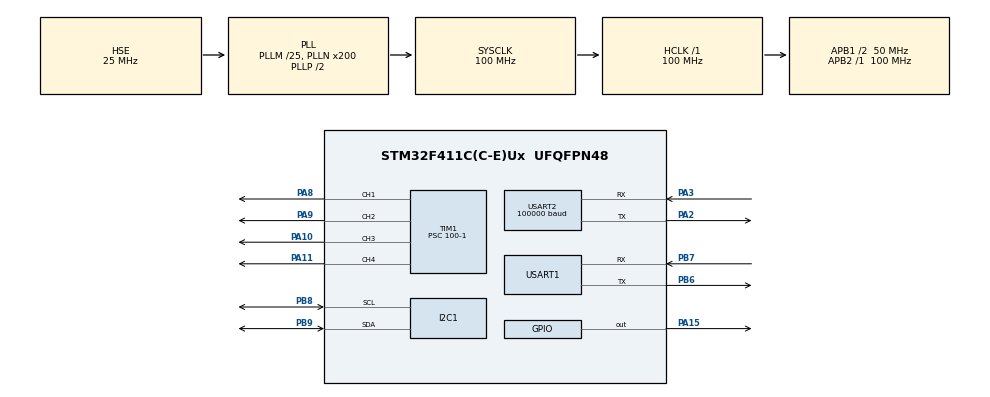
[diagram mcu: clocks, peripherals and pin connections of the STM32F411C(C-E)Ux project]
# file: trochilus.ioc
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Dma.Request0=USART2_RX
Dma.Request1=USART1_RX
Dma.Request2=USART1_TX
Dma.USART1_RX.1.Direction=DMA_PERIPH_TO_MEMORY
Dma.USART1_RX.1.FIFOMode=DMA_FIFOMODE_DISABLE
Dma.USART1_RX.1.Instance=DMA2_Stream2
Dma.USART1_RX.1.MemDataAlignment=DMA_MDATAALIGN_BYTE
Dma.USART1_RX.1.MemInc=DMA_MINC_ENABLE
Dma.USART1_RX.1.Mode=DMA_NORMAL
Dma.USART1_RX.1.PeriphDataAlignment=DMA_PDATAALIGN_BYTE
Dma.USART1_RX.1.PeriphInc=DMA_PINC_DISABLE
Dma.USART1_RX.1.Priority=DMA_PRIORITY_LOW
Dma.USART1_TX.2.Direction=DMA_MEMORY_TO_PERIPH
Dma.USART1_TX.2.FIFOMode=DMA_FIFOMODE_DISABLE
Dma.USART1_TX.2.Instance=DMA2_Stream7
Dma.USART1_TX.2.MemDataAlignment=DMA_MDATAALIGN_BYTE
Dma.USART1_TX.2.MemInc=DMA_MINC_ENABLE
Dma.USART1_TX.2.Mode=DMA_NORMAL
Dma.USART1_TX.2.PeriphDataAlignment=DMA_PDATAALIGN_BYTE
Dma.USART1_TX.2.PeriphInc=DMA_PINC_DISABLE
Dma.USART1_TX.2.Priority=DMA_PRIORITY_LOW
Dma.USART2_RX.0.Direction=DMA_PERIPH_TO_MEMORY
Dma.USART2_RX.0.FIFOMode=DMA_FIFOMODE_DISABLE
Dma.USART2_RX.0.Instance=DMA1_Stream5
Dma.USART2_RX.0.MemDataAlignment=DMA_MDATAALIGN_BYTE
Dma.USART2_RX.0.MemInc=DMA_MINC_ENABLE
Dma.USART2_RX.0.Mode=DMA_NORMAL
Dma.USART2_RX.0.PeriphDataAlignment=DMA_PDATAALIGN_BYTE
Dma.USART2_RX.0.PeriphInc=DMA_PINC_DISABLE
Dma.USART2_RX.0.Priority=DMA_PRIORITY_HIGH
FREERTOS.Tasks01=defaultTask,24,128,StartDefaultTask,Default,NULL,Dynamic,NULL,NULL
Mcu.Family=STM32F4
Mcu.Name=STM32F411C(C-E)Ux
Mcu.Package=UFQFPN48
NVIC.DMA1_Stream5_IRQn=true\:5\:0\:false\:false\:true\:true\:false\:true
NVIC.DMA2_Stream2_IRQn=true\:5\:0\:false\:false\:true\:true\:false\:true
NVIC.DMA2_Stream7_IRQn=true\:5\:0\:false\:false\:true\:true\:false\:true
NVIC.PriorityGroup=NVIC_PRIORITYGROUP_4
NVIC.TIM1_UP_TIM10_IRQn=true\:15\:0\:false\:false\:true\:false\:false\:true
NVIC.TIM2_IRQn=true\:15\:0\:false\:false\:true\:false\:false\:true
NVIC.TimeBase=TIM2_IRQn
NVIC.TimeBaseIP=TIM2
NVIC.USART1_IRQn=true\:5\:0\:false\:false\:true\:true\:true\:true
PA0-WKUP.Signal=S_TIM2_CH1_ETR
PA10.Signal=S_TIM1_CH3
PA11.Signal=S_TIM1_CH4
PA15.GPIO_PuPd=GPIO_PULLUP
PA15.Signal=GPIO_Output
PA2.Mode=Asynchronous
PA2.Signal=USART2_TX
PA3.Mode=Asynchronous
PA3.Signal=USART2_RX
PA8.Signal=S_TIM1_CH1
PA9.Signal=S_TIM1_CH2
PB6.Mode=Asynchronous
PB6.Signal=USART1_TX
PB7.Mode=Asynchronous
PB7.Signal=USART1_RX
PB8.Mode=I2C
PB8.Signal=I2C1_SCL
PB9.Mode=I2C
PB9.Signal=I2C1_SDA
PH0\ -\ OSC_IN.Mode=HSE-External-Oscillator
PH0\ -\ OSC_IN.Signal=RCC_OSC_IN
PH1\ -\ OSC_OUT.Mode=HSE-External-Oscillator
PH1\ -\ OSC_OUT.Signal=RCC_OSC_OUT
ProjectManager.HeapSize=0x200
ProjectManager.StackSize=0x400
ProjectManager.TargetToolchain=Makefile
RCC.48MHZClocksFreq_Value=50000000
RCC.AHBFreq_Value=100000000
RCC.APB1CLKDivider=RCC_HCLK_DIV2
RCC.APB1Freq_Value=50000000
RCC.APB1TimFreq_Value=100000000
RCC.APB2Freq_Value=100000000
RCC.APB2TimFreq_Value=100000000
RCC.CortexFreq_Value=100000000
RCC.HCLKFreq_Value=100000000
RCC.HSE_VALUE=25000000
RCC.HSI_VALUE=16000000
RCC.LSE_VALUE=32768
RCC.PLLM=25
RCC.PLLN=200
RCC.PLLSourceVirtual=RCC_PLLSOURCE_HSE
RCC.SYSCLKFreq_VALUE=100000000
RCC.SYSCLKSource=RCC_SYSCLKSOURCE_PLLCLK
RCC.VCOOutputFreq_Value=200000000
SH.S_TIM1_CH1.0=TIM1_CH1,PWM Generation1 CH1
SH.S_TIM1_CH2.0=TIM1_CH2,PWM Generation2 CH2
SH.S_TIM1_CH3.0=TIM1_CH3,PWM Generation3 CH3
SH.S_TIM1_CH4.0=TIM1_CH4,PWM Generation4 CH4
SH.S_TIM2_CH1_ETR.0=TIM2_CH1
TIM1.Channel-PWM\ Generation1\ CH1=TIM_CHANNEL_1
TIM1.Channel-PWM\ Generation2\ CH2=TIM_CHANNEL_2
TIM1.Channel-PWM\ Generation3\ CH3=TIM_CHANNEL_3
TIM1.Channel-PWM\ Generation4\ CH4=TIM_CHANNEL_4
TIM1.Prescaler=100-1
USART1.VirtualMode=VM_ASYNC
USART2.BaudRate=100000
USART2.Parity=PARITY_EVEN
USART2.StopBits=STOPBITS_2
USART2.VirtualMode=VM_ASYNC
VP_FREERTOS_VS_CMSIS_V2.Mode=CMSIS_V2
VP_SYS_VS_tim2.Mode=TIM2
board=custom

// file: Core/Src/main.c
/* USER CODE BEGIN Header */
/**
 ******************************************************************************
 * @file           : main.c
 * @brief          : Main program body
 ******************************************************************************
 * @attention
 *
 * Copyright (c) 2022 STMicroelectronics.
 * All rights reserved.
 *
 * This software is licensed under terms that can be found in the LICENSE file
 * in the root directory of this software component.
 * If no LICENSE file comes with this software, it is provided AS-IS.
 *
 ******************************************************************************
 */
/* USER CODE END Header */
#include "main.h"
#include "cmsis_os.h"

I2C_HandleTypeDef hi2c1;

TIM_HandleTypeDef htim1;

UART_HandleTypeDef huart1;
UART_HandleTypeDef huart2;
DMA_HandleTypeDef  hdma_usart1_rx;
DMA_HandleTypeDef  hdma_usart1_tx;
DMA_HandleTypeDef  hdma_usart2_rx;

/* Definitions for defaultTask */
osThreadId_t         defaultTaskHandle;
const osThreadAttr_t defaultTask_attributes = {
    .name       = "defaultTask",
    .stack_size = 128 * 4,
    .priority   = ( osPriority_t )osPriorityNormal,
};
/* USER CODE BEGIN PV */
#ifdef __GNUC__
#define PUTCHAR_PROTOTYPE int __io_putchar(int ch)
int _write(int fd, char* pBuffer, int size)
{
    for(int i = 0; i < size; i++) {
        __io_putchar(*pBuffer++);
    }
    return size;
}
#else
#define PUTCHAR_PROTOTYPE int fputc(int ch, FILE* f)
#endif
PUTCHAR_PROTOTYPE
{
    while(HAL_OK != HAL_UART_Transmit_DMA(&huart1, ( uint8_t* )&ch, 1)) {
    }
    return ch;
}

/* USER CODE END PV */

void        SystemClock_Config(void);
static void MX_GPIO_Init(void);
static void MX_DMA_Init(void);
static void MX_TIM1_Init(void);
static void MX_USART1_UART_Init(void);
static void MX_USART2_UART_Init(void);
static void MX_I2C1_Init(void);
void        StartDefaultTask(void* argument);

int main(void)
{

    /* MCU Configuration--------------------------------------------------------*/

    /* Reset of all peripherals, Initializes the Flash interface and the Systick. */
    HAL_Init();

    /* Configure the system clock */
    SystemClock_Config();

    /* Initialize all configured peripherals */
    MX_GPIO_Init();
    MX_DMA_Init();
    MX_TIM1_Init();
    MX_USART1_UART_Init();
    MX_USART2_UART_Init();
    MX_I2C1_Init();
    /* USER CODE BEGIN 2 */
    // HAL_UART_Transmit(&huart1, "s", 1, 0);
    /* USER CODE END 2 */

    /* Init scheduler */
    osKernelInitialize();

    /* Create the thread(s) */
    /* creation of defaultTask */
    defaultTaskHandle = osThreadNew(StartDefaultTask, NULL, &defaultTask_attributes);

    /* Start scheduler */
    osKernelStart();

    /* We should never get here as control is now taken by the scheduler */
    /* Infinite loop */
    while(1) {

    }
}

void SystemClock_Config(void)
{
    RCC_OscInitTypeDef RCC_OscInitStruct = { 0 };
    RCC_ClkInitTypeDef RCC_ClkInitStruct = { 0 };

    /** Configure the main internal regulator output voltage
     */
    __HAL_RCC_PWR_CLK_ENABLE();
    __HAL_PWR_VOLTAGESCALING_CONFIG(PWR_REGULATOR_VOLTAGE_SCALE1);
    /** Initializes the RCC Oscillators according to the specified parameters
     * in the RCC_OscInitTypeDef structure.
     */
    RCC_OscInitStruct.OscillatorType = RCC_OSCILLATORTYPE_HSE;
    RCC_OscInitStruct.HSEState       = RCC_HSE_ON;
    RCC_OscInitStruct.PLL.PLLState   = RCC_PLL_ON;
    RCC_OscInitStruct.PLL.PLLSource  = RCC_PLLSOURCE_HSE;
    RCC_OscInitStruct.PLL.PLLM       = 25;
    RCC_OscInitStruct.PLL.PLLN       = 200;
    RCC_OscInitStruct.PLL.PLLP       = RCC_PLLP_DIV2;
    RCC_OscInitStruct.PLL.PLLQ       = 4;
    if(HAL_RCC_OscConfig(&RCC_OscInitStruct) != HAL_OK) {
        Error_Handler();
    }
    /** Initializes the CPU, AHB and APB buses clocks
     */
    RCC_ClkInitStruct.ClockType      = RCC_CLOCKTYPE_HCLK | RCC_CLOCKTYPE_SYSCLK | RCC_CLOCKTYPE_PCLK1 | RCC_CLOCKTYPE_PCLK2;
    RCC_ClkInitStruct.SYSCLKSource   = RCC_SYSCLKSOURCE_PLLCLK;
    RCC_ClkInitStruct.AHBCLKDivider  = RCC_SYSCLK_DIV1;
    RCC_ClkInitStruct.APB1CLKDivider = RCC_HCLK_DIV2;
    RCC_ClkInitStruct.APB2CLKDivider = RCC_HCLK_DIV1;

    if(HAL_RCC_ClockConfig(&RCC_ClkInitStruct, FLASH_LATENCY_3) != HAL_OK) {
        Error_Handler();
    }
}

static void MX_I2C1_Init(void)
{

    hi2c1.Instance             = I2C1;
    hi2c1.Init.ClockSpeed      = 100000;
    hi2c1.Init.DutyCycle       = I2C_DUTYCYCLE_2;
    hi2c1.Init.OwnAddress1     = 0;
    hi2c1.Init.AddressingMode  = I2C_ADDRESSINGMODE_7BIT;
    hi2c1.Init.DualAddressMode = I2C_DUALADDRESS_DISABLE;
    hi2c1.Init.OwnAddress2     = 0;
    hi2c1.Init.GeneralCallMode = I2C_GENERALCALL_DISABLE;
    hi2c1.Init.NoStretchMode   = I2C_NOSTRETCH_DISABLE;
    if(HAL_I2C_Init(&hi2c1) != HAL_OK) {
        Error_Handler();
    }
}

static void MX_TIM1_Init(void)
{

    TIM_MasterConfigTypeDef        sMasterConfig        = { 0 };
    TIM_OC_InitTypeDef             sConfigOC            = { 0 };
    TIM_BreakDeadTimeConfigTypeDef sBreakDeadTimeConfig = { 0 };

    htim1.Instance               = TIM1;
    htim1.Init.Prescaler         = 100 - 1;
    htim1.Init.CounterMode       = TIM_COUNTERMODE_UP;
    htim1.Init.Period            = 65535;
    htim1.Init.ClockDivision     = TIM_CLOCKDIVISION_DIV1;
    htim1.Init.RepetitionCounter = 0;
    htim1.Init.AutoReloadPreload = TIM_AUTORELOAD_PRELOAD_DISABLE;
    if(HAL_TIM_PWM_Init(&htim1) != HAL_OK) {
        Error_Handler();
    }
    sMasterConfig.MasterOutputTrigger = TIM_TRGO_RESET;
    sMasterConfig.MasterSlaveMode     = TIM_MASTERSLAVEMODE_DISABLE;
    if(HAL_TIMEx_MasterConfigSynchronization(&htim1, &sMasterConfig) != HAL_OK) {
        Error_Handler();
    }
    sConfigOC.OCMode       = TIM_OCMODE_PWM1;
    sConfigOC.Pulse        = 0;
    sConfigOC.OCPolarity   = TIM_OCPOLARITY_HIGH;
    sConfigOC.OCNPolarity  = TIM_OCNPOLARITY_HIGH;
    sConfigOC.OCFastMode   = TIM_OCFAST_DISABLE;
    sConfigOC.OCIdleState  = TIM_OCIDLESTATE_RESET;
    sConfigOC.OCNIdleState = TIM_OCNIDLESTATE_RESET;
    if(HAL_TIM_PWM_ConfigChannel(&htim1, &sConfigOC, TIM_CHANNEL_1) != HAL_OK) {
        Error_Handler();
    }
    if(HAL_TIM_PWM_ConfigChannel(&htim1, &sConfigOC, TIM_CHANNEL_2) != HAL_OK) {
        Error_Handler();
    }
    if(HAL_TIM_PWM_ConfigChannel(&htim1, &sConfigOC, TIM_CHANNEL_3) != HAL_OK) {
        Error_Handler();
    }
    if(HAL_TIM_PWM_ConfigChannel(&htim1, &sConfigOC, TIM_CHANNEL_4) != HAL_OK) {
        Error_Handler();
    }
    sBreakDeadTimeConfig.OffStateRunMode  = TIM_OSSR_DISABLE;
    sBreakDeadTimeConfig.OffStateIDLEMode = TIM_OSSI_DISABLE;
    sBreakDeadTimeConfig.LockLevel        = TIM_LOCKLEVEL_OFF;
    sBreakDeadTimeConfig.DeadTime         = 0;
    sBreakDeadTimeConfig.BreakState       = TIM_BREAK_DISABLE;
    sBreakDeadTimeConfig.BreakPolarity    = TIM_BREAKPOLARITY_HIGH;
    sBreakDeadTimeConfig.AutomaticOutput  = TIM_AUTOMATICOUTPUT_DISABLE;
    if(HAL_TIMEx_ConfigBreakDeadTime(&htim1, &sBreakDeadTimeConfig) != HAL_OK) {
        Error_Handler();
    }
    HAL_TIM_MspPostInit(&htim1);
}

static void MX_USART1_UART_Init(void)
{

    huart1.Instance          = USART1;
    huart1.Init.BaudRate     = 115200;
    huart1.Init.WordLength   = UART_WORDLENGTH_8B;
    huart1.Init.StopBits     = UART_STOPBITS_1;
    huart1.Init.Parity       = UART_PARITY_NONE;
    huart1.Init.Mode         = UART_MODE_TX_RX;
    huart1.Init.HwFlowCtl    = UART_HWCONTROL_NONE;
    huart1.Init.OverSampling = UART_OVERSAMPLING_16;
    if(HAL_UART_Init(&huart1) != HAL_OK) {
        Error_Handler();
    }
}

static void MX_USART2_UART_Init(void)
{

    huart2.Instance          = USART2;
    huart2.Init.BaudRate     = 100000;
    huart2.Init.WordLength   = UART_WORDLENGTH_8B;
    huart2.Init.StopBits     = UART_STOPBITS_2;
    huart2.Init.Parity       = UART_PARITY_EVEN;
    huart2.Init.Mode         = UART_MODE_TX_RX;
    huart2.Init.HwFlowCtl    = UART_HWCONTROL_NONE;
    huart2.Init.OverSampling = UART_OVERSAMPLING_16;
    if(HAL_UART_Init(&huart2) != HAL_OK) {
        Error_Handler();
    }
}

static void MX_DMA_Init(void)
{

    /* DMA controller clock enable */
    __HAL_RCC_DMA1_CLK_ENABLE();
    __HAL_RCC_DMA2_CLK_ENABLE();

    /* DMA interrupt init */
    /* DMA1_Stream5_IRQn interrupt configuration */
    HAL_NVIC_SetPriority(DMA1_Stream5_IRQn, 5, 0);
    HAL_NVIC_EnableIRQ(DMA1_Stream5_IRQn);
    /* DMA2_Stream2_IRQn interrupt configuration */
    HAL_NVIC_SetPriority(DMA2_Stream2_IRQn, 5, 0);
    HAL_NVIC_EnableIRQ(DMA2_Stream2_IRQn);
    /* DMA2_Stream7_IRQn interrupt configuration */
    HAL_NVIC_SetPriority(DMA2_Stream7_IRQn, 5, 0);
    HAL_NVIC_EnableIRQ(DMA2_Stream7_IRQn);
}

static void MX_GPIO_Init(void)
{
    GPIO_InitTypeDef GPIO_InitStruct = { 0 };

    /* GPIO Ports Clock Enable */
    __HAL_RCC_GPIOH_CLK_ENABLE();
    __HAL_RCC_GPIOA_CLK_ENABLE();
    __HAL_RCC_GPIOB_CLK_ENABLE();

    /*Configure GPIO pin Output Level */
    HAL_GPIO_WritePin(GPIOA, GPIO_PIN_15, GPIO_PIN_RESET);

    /*Configure GPIO pin : PA0 */
    GPIO_InitStruct.Pin       = GPIO_PIN_0;
    GPIO_InitStruct.Mode      = GPIO_MODE_AF_PP;
    GPIO_InitStruct.Pull      = GPIO_NOPULL;
    GPIO_InitStruct.Speed     = GPIO_SPEED_FREQ_LOW;
    GPIO_InitStruct.Alternate = GPIO_AF1_TIM2;
    HAL_GPIO_Init(GPIOA, &GPIO_InitStruct);

    /*Configure GPIO pin : PA15 */
    GPIO_InitStruct.Pin   = GPIO_PIN_15;
    GPIO_InitStruct.Mode  = GPIO_MODE_OUTPUT_PP;
    GPIO_InitStruct.Pull  = GPIO_PULLUP;
    GPIO_InitStruct.Speed = GPIO_SPEED_FREQ_LOW;
    HAL_GPIO_Init(GPIOA, &GPIO_InitStruct);
}

void StartDefaultTask(void* argument)
{
    /* USER CODE BEGIN 5 */
    /* Infinite loop */
    for(;;) {
        printf("aaabb\r\n");
        osDelay(1000);
    }
    /* USER CODE END 5 */
}

void HAL_TIM_PeriodElapsedCallback(TIM_HandleTypeDef* htim)
{
    if(htim->Instance == TIM2) {
        HAL_IncTick();
    }
}

void Error_Handler(void)
{
    __disable_irq();
    while(1) {
    }
}

#ifdef USE_FULL_ASSERT
/**
 * @brief  Reports the name of the source file and the source line number
 *         where the assert_param error has occurred.
 * @param  file: pointer to the source file name
 * @param  line: assert_param error line source number
 * @retval None
 */
void assert_failed(uint8_t* file, uint32_t line)
{
    /* USER CODE BEGIN 6 */
    /* User can add his own implementation to report the file name and line
       number,
       ex: printf("Wrong parameters value: file %s on line %d\r\n", file, line) */
    /* USER CODE END 6 */
}
#endif /* USE_FULL_ASSERT */
